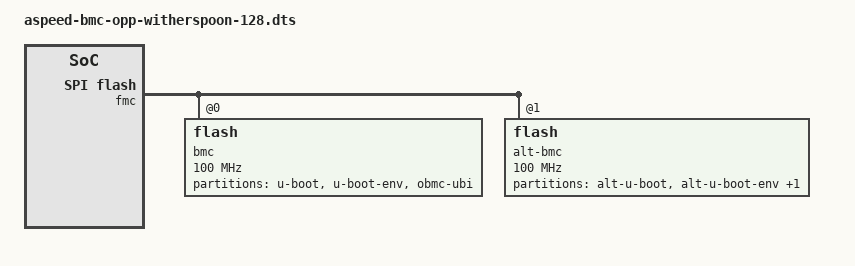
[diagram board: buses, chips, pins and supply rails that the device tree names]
// SPDX-License-Identifier: GPL-2.0-or-later
// Copyright 2019 IBM Corp.
/dts-v1/;

#include "aspeed-bmc-opp-witherspoon.dts"

&fmc {
	status = "okay";

	flash@0 {
		status = "okay";
		label = "bmc";
		m25p,fast-read;
		spi-max-frequency = <100000000>;

		partitions {
			#address-cells = < 1 >;
			#size-cells = < 1 >;
			compatible = "fixed-partitions";
			u-boot@0 {
				reg = < 0 0x60000 >;
				label = "u-boot";
			};
			u-boot-env@60000 {
				reg = < 0x60000 0x20000 >;
				label = "u-boot-env";
			};
			obmc-ubi@80000 {
				reg = < 0x80000 0x7F80000>;
				label = "obmc-ubi";
			};
		};
	};

	flash@1 {
		status = "okay";
		label = "alt-bmc";
		m25p,fast-read;
		spi-max-frequency = <100000000>;

		partitions {
			#address-cells = < 1 >;
			#size-cells = < 1 >;
			compatible = "fixed-partitions";
			u-boot@0 {
				reg = < 0 0x60000 >;
				label = "alt-u-boot";
			};
			u-boot-env@60000 {
				reg = < 0x60000 0x20000 >;
				label = "alt-u-boot-env";
			};
			obmc-ubi@80000 {
				reg = < 0x80000 0x7F80000>;
				label = "alt-obmc-ubi";
			};
		};
	};
};
